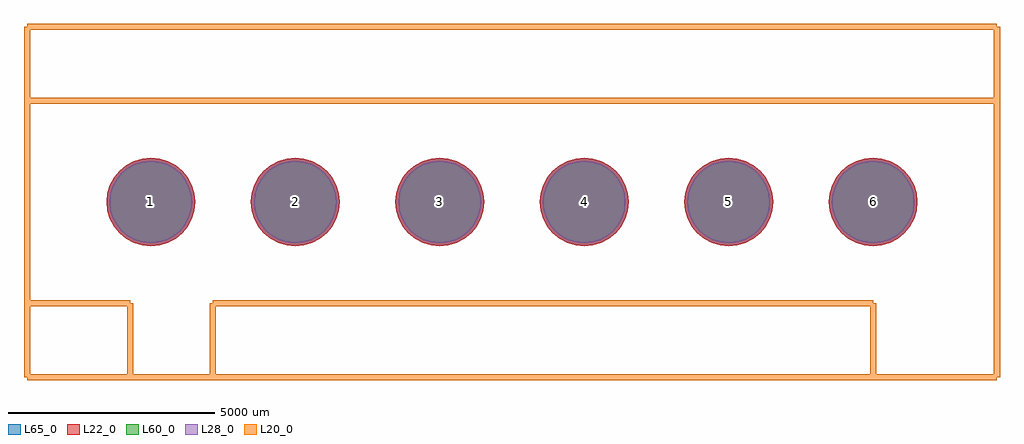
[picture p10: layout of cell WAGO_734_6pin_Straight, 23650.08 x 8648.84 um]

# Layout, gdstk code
import gdstk
lib = gdstk.Library(unit=1e-6, precision=1e-09)
def P(c, l, *ps):  # polygons
    for p in ps: c.add(gdstk.Polygon(p, *l))
L20_0 = (20, 0)
L22_0 = (22, 0)
L28_0 = (28, 0)
L60_0 = (60, 0)
L65_0 = (65, 0)

wago_734_6pin_straight = lib.new_cell('WAGO_734_6pin_Straight')
P(wago_734_6pin_straight, L22_0, [(9824.79,0),(9804.144,209.623),(9742.999,411.19),(9643.706,596.955),(9510.079,759.779),(9347.255,893.406),(9161.49,992.699),(8959.923,1053.844),(8750.3,1074.49),(8540.677,1053.844),(8339.11,992.699),(8153.345,893.406),(7990.521,759.779),(7856.894,596.955),(7757.601,411.19),(7696.456,209.623),(7675.81,0),(7696.456,-209.623),(7757.601,-411.19),(7856.894,-596.955),(7990.521,-759.779),(8153.345,-893.406),(8339.11,-992.699),(8540.677,-1053.844),(8750.3,-1074.49),(8959.923,-1053.844),(9161.49,-992.699),(9347.255,-893.406),(9510.079,-759.779),(9643.706,-596.955),(9742.999,-411.19),(9804.144,-209.623)],
  [(-7675.81,0),(-7696.456,209.623),(-7757.601,411.19),(-7856.894,596.955),(-7990.521,759.779),(-8153.345,893.406),(-8339.11,992.699),(-8540.677,1053.844),(-8750.3,1074.49),(-8959.923,1053.844),(-9161.49,992.699),(-9347.255,893.406),(-9510.079,759.779),(-9643.706,596.955),(-9742.999,411.19),(-9804.144,209.623),(-9824.79,0),(-9804.144,-209.623),(-9742.999,-411.19),(-9643.706,-596.955),(-9510.079,-759.779),(-9347.255,-893.406),(-9161.49,-992.699),(-8959.923,-1053.844),(-8750.3,-1074.49),(-8540.677,-1053.844),(-8339.11,-992.699),(-8153.345,-893.406),(-7990.521,-759.779),(-7856.894,-596.955),(-7757.601,-411.19),(-7696.456,-209.623)],
  [(6324.67,0),(6304.024,209.623),(6242.879,411.19),(6143.586,596.955),(6009.959,759.779),(5847.135,893.406),(5661.37,992.699),(5459.803,1053.844),(5250.18,1074.49),(5040.557,1053.844),(4838.99,992.699),(4653.225,893.406),(4490.401,759.779),(4356.774,596.955),(4257.481,411.19),(4196.336,209.623),(4175.69,0),(4196.336,-209.623),(4257.481,-411.19),(4356.774,-596.955),(4490.401,-759.779),(4653.225,-893.406),(4838.99,-992.699),(5040.557,-1053.844),(5250.18,-1074.49),(5459.803,-1053.844),(5661.37,-992.699),(5847.135,-893.406),(6009.959,-759.779),(6143.586,-596.955),(6242.879,-411.19),(6304.024,-209.623)],
  [(2824.55,0),(2803.904,209.623),(2742.759,411.19),(2643.466,596.955),(2509.839,759.779),(2347.015,893.406),(2161.25,992.699),(1959.683,1053.844),(1750.06,1074.49),(1540.437,1053.844),(1338.87,992.699),(1153.105,893.406),(990.281,759.779),(856.654,596.955),(757.361,411.19),(696.216,209.623),(675.57,0),(696.216,-209.623),(757.361,-411.19),(856.654,-596.955),(990.281,-759.779),(1153.105,-893.406),(1338.87,-992.699),(1540.437,-1053.844),(1750.06,-1074.49),(1959.683,-1053.844),(2161.25,-992.699),(2347.015,-893.406),(2509.839,-759.779),(2643.466,-596.955),(2742.759,-411.19),(2803.904,-209.623)],
  [(-4175.69,0),(-4196.336,209.623),(-4257.481,411.19),(-4356.774,596.955),(-4490.401,759.779),(-4653.225,893.406),(-4838.99,992.699),(-5040.557,1053.844),(-5250.18,1074.49),(-5459.803,1053.844),(-5661.37,992.699),(-5847.135,893.406),(-6009.959,759.779),(-6143.586,596.955),(-6242.879,411.19),(-6304.024,209.623),(-6324.67,0),(-6304.024,-209.623),(-6242.879,-411.19),(-6143.586,-596.955),(-6009.959,-759.779),(-5847.135,-893.406),(-5661.37,-992.699),(-5459.803,-1053.844),(-5250.18,-1074.49),(-5040.557,-1053.844),(-4838.99,-992.699),(-4653.225,-893.406),(-4490.401,-759.779),(-4356.774,-596.955),(-4257.481,-411.19),(-4196.336,-209.623)],
  [(-675.57,0),(-696.216,209.623),(-757.361,411.19),(-856.654,596.955),(-990.281,759.779),(-1153.105,893.406),(-1338.87,992.699),(-1540.437,1053.844),(-1750.06,1074.49),(-1959.683,1053.844),(-2161.25,992.699),(-2347.015,893.406),(-2509.839,759.779),(-2643.466,596.955),(-2742.759,411.19),(-2803.904,209.623),(-2824.55,0),(-2803.904,-209.623),(-2742.759,-411.19),(-2643.466,-596.955),(-2509.839,-759.779),(-2347.015,-893.406),(-2161.25,-992.699),(-1959.683,-1053.844),(-1750.06,-1074.49),(-1540.437,-1053.844),(-1338.87,-992.699),(-1153.105,-893.406),(-990.281,-759.779),(-856.654,-596.955),(-757.361,-411.19),(-696.216,-209.623)])
P(wago_734_6pin_straight, L28_0, [(9749.79,0),(9730.585,194.991),(9673.708,382.488),(9581.346,555.287),(9457.046,706.746),(9305.587,831.046),(9132.788,923.408),(8945.291,980.285),(8750.3,999.49),(8555.309,980.285),(8367.812,923.408),(8195.013,831.046),(8043.554,706.746),(7919.254,555.287),(7826.892,382.488),(7770.015,194.991),(7750.81,0),(7770.015,-194.991),(7826.892,-382.488),(7919.254,-555.287),(8043.554,-706.746),(8195.013,-831.046),(8367.812,-923.408),(8555.309,-980.285),(8750.3,-999.49),(8945.291,-980.285),(9132.788,-923.408),(9305.587,-831.046),(9457.046,-706.746),(9581.346,-555.287),(9673.708,-382.488),(9730.585,-194.991)],
  [(-7750.81,0),(-7770.015,194.991),(-7826.892,382.488),(-7919.254,555.287),(-8043.554,706.746),(-8195.013,831.046),(-8367.812,923.408),(-8555.309,980.285),(-8750.3,999.49),(-8945.291,980.285),(-9132.788,923.408),(-9305.587,831.046),(-9457.046,706.746),(-9581.346,555.287),(-9673.708,382.488),(-9730.585,194.991),(-9749.79,0),(-9730.585,-194.991),(-9673.708,-382.488),(-9581.346,-555.287),(-9457.046,-706.746),(-9305.587,-831.046),(-9132.788,-923.408),(-8945.291,-980.285),(-8750.3,-999.49),(-8555.309,-980.285),(-8367.812,-923.408),(-8195.013,-831.046),(-8043.554,-706.746),(-7919.254,-555.287),(-7826.892,-382.488),(-7770.015,-194.991)],
  [(6249.67,0),(6230.465,194.991),(6173.588,382.488),(6081.226,555.287),(5956.926,706.746),(5805.467,831.046),(5632.668,923.408),(5445.171,980.285),(5250.18,999.49),(5055.189,980.285),(4867.692,923.408),(4694.893,831.046),(4543.434,706.746),(4419.134,555.287),(4326.772,382.488),(4269.895,194.991),(4250.69,0),(4269.895,-194.991),(4326.772,-382.488),(4419.134,-555.287),(4543.434,-706.746),(4694.893,-831.046),(4867.692,-923.408),(5055.189,-980.285),(5250.18,-999.49),(5445.171,-980.285),(5632.668,-923.408),(5805.467,-831.046),(5956.926,-706.746),(6081.226,-555.287),(6173.588,-382.488),(6230.465,-194.991)],
  [(2749.55,0),(2730.345,194.991),(2673.468,382.488),(2581.106,555.287),(2456.806,706.746),(2305.347,831.046),(2132.548,923.408),(1945.051,980.285),(1750.06,999.49),(1555.069,980.285),(1367.572,923.408),(1194.773,831.046),(1043.314,706.746),(919.014,555.287),(826.652,382.488),(769.775,194.991),(750.57,0),(769.775,-194.991),(826.652,-382.488),(919.014,-555.287),(1043.314,-706.746),(1194.773,-831.046),(1367.572,-923.408),(1555.069,-980.285),(1750.06,-999.49),(1945.051,-980.285),(2132.548,-923.408),(2305.347,-831.046),(2456.806,-706.746),(2581.106,-555.287),(2673.468,-382.488),(2730.345,-194.991)],
  [(-4250.69,0),(-4269.895,194.991),(-4326.772,382.488),(-4419.134,555.287),(-4543.434,706.746),(-4694.893,831.046),(-4867.692,923.408),(-5055.189,980.285),(-5250.18,999.49),(-5445.171,980.285),(-5632.668,923.408),(-5805.467,831.046),(-5956.926,706.746),(-6081.226,555.287),(-6173.588,382.488),(-6230.465,194.991),(-6249.67,0),(-6230.465,-194.991),(-6173.588,-382.488),(-6081.226,-555.287),(-5956.926,-706.746),(-5805.467,-831.046),(-5632.668,-923.408),(-5445.171,-980.285),(-5250.18,-999.49),(-5055.189,-980.285),(-4867.692,-923.408),(-4694.893,-831.046),(-4543.434,-706.746),(-4419.134,-555.287),(-4326.772,-382.488),(-4269.895,-194.991)],
  [(-750.57,0),(-769.775,194.991),(-826.652,382.488),(-919.014,555.287),(-1043.314,706.746),(-1194.773,831.046),(-1367.572,923.408),(-1555.069,980.285),(-1750.06,999.49),(-1945.051,980.285),(-2132.548,923.408),(-2305.347,831.046),(-2456.806,706.746),(-2581.106,555.287),(-2673.468,382.488),(-2730.345,194.991),(-2749.55,0),(-2730.345,-194.991),(-2673.468,-382.488),(-2581.106,-555.287),(-2456.806,-706.746),(-2305.347,-831.046),(-2132.548,-923.408),(-1945.051,-980.285),(-1750.06,-999.49),(-1555.069,-980.285),(-1367.572,-923.408),(-1194.773,-831.046),(-1043.314,-706.746),(-919.014,-555.287),(-826.652,-382.488),(-769.775,-194.991)])
P(wago_734_6pin_straight, L60_0, [(9749.79,0),(9730.585,194.991),(9673.708,382.488),(9581.346,555.287),(9457.046,706.746),(9305.587,831.046),(9132.788,923.408),(8945.291,980.285),(8750.3,999.49),(8555.309,980.285),(8367.812,923.408),(8195.013,831.046),(8043.554,706.746),(7919.254,555.287),(7826.892,382.488),(7770.015,194.991),(7750.81,0),(7770.015,-194.991),(7826.892,-382.488),(7919.254,-555.287),(8043.554,-706.746),(8195.013,-831.046),(8367.812,-923.408),(8555.309,-980.285),(8750.3,-999.49),(8945.291,-980.285),(9132.788,-923.408),(9305.587,-831.046),(9457.046,-706.746),(9581.346,-555.287),(9673.708,-382.488),(9730.585,-194.991)],
  [(-7750.81,0),(-7770.015,194.991),(-7826.892,382.488),(-7919.254,555.287),(-8043.554,706.746),(-8195.013,831.046),(-8367.812,923.408),(-8555.309,980.285),(-8750.3,999.49),(-8945.291,980.285),(-9132.788,923.408),(-9305.587,831.046),(-9457.046,706.746),(-9581.346,555.287),(-9673.708,382.488),(-9730.585,194.991),(-9749.79,0),(-9730.585,-194.991),(-9673.708,-382.488),(-9581.346,-555.287),(-9457.046,-706.746),(-9305.587,-831.046),(-9132.788,-923.408),(-8945.291,-980.285),(-8750.3,-999.49),(-8555.309,-980.285),(-8367.812,-923.408),(-8195.013,-831.046),(-8043.554,-706.746),(-7919.254,-555.287),(-7826.892,-382.488),(-7770.015,-194.991)],
  [(6249.67,0),(6230.465,194.991),(6173.588,382.488),(6081.226,555.287),(5956.926,706.746),(5805.467,831.046),(5632.668,923.408),(5445.171,980.285),(5250.18,999.49),(5055.189,980.285),(4867.692,923.408),(4694.893,831.046),(4543.434,706.746),(4419.134,555.287),(4326.772,382.488),(4269.895,194.991),(4250.69,0),(4269.895,-194.991),(4326.772,-382.488),(4419.134,-555.287),(4543.434,-706.746),(4694.893,-831.046),(4867.692,-923.408),(5055.189,-980.285),(5250.18,-999.49),(5445.171,-980.285),(5632.668,-923.408),(5805.467,-831.046),(5956.926,-706.746),(6081.226,-555.287),(6173.588,-382.488),(6230.465,-194.991)],
  [(2749.55,0),(2730.345,194.991),(2673.468,382.488),(2581.106,555.287),(2456.806,706.746),(2305.347,831.046),(2132.548,923.408),(1945.051,980.285),(1750.06,999.49),(1555.069,980.285),(1367.572,923.408),(1194.773,831.046),(1043.314,706.746),(919.014,555.287),(826.652,382.488),(769.775,194.991),(750.57,0),(769.775,-194.991),(826.652,-382.488),(919.014,-555.287),(1043.314,-706.746),(1194.773,-831.046),(1367.572,-923.408),(1555.069,-980.285),(1750.06,-999.49),(1945.051,-980.285),(2132.548,-923.408),(2305.347,-831.046),(2456.806,-706.746),(2581.106,-555.287),(2673.468,-382.488),(2730.345,-194.991)],
  [(-4250.69,0),(-4269.895,194.991),(-4326.772,382.488),(-4419.134,555.287),(-4543.434,706.746),(-4694.893,831.046),(-4867.692,923.408),(-5055.189,980.285),(-5250.18,999.49),(-5445.171,980.285),(-5632.668,923.408),(-5805.467,831.046),(-5956.926,706.746),(-6081.226,555.287),(-6173.588,382.488),(-6230.465,194.991),(-6249.67,0),(-6230.465,-194.991),(-6173.588,-382.488),(-6081.226,-555.287),(-5956.926,-706.746),(-5805.467,-831.046),(-5632.668,-923.408),(-5445.171,-980.285),(-5250.18,-999.49),(-5055.189,-980.285),(-4867.692,-923.408),(-4694.893,-831.046),(-4543.434,-706.746),(-4419.134,-555.287),(-4326.772,-382.488),(-4269.895,-194.991)],
  [(-750.57,0),(-769.775,194.991),(-826.652,382.488),(-919.014,555.287),(-1043.314,706.746),(-1194.773,831.046),(-1367.572,923.408),(-1555.069,980.285),(-1750.06,999.49),(-1945.051,980.285),(-2132.548,923.408),(-2305.347,831.046),(-2456.806,706.746),(-2581.106,555.287),(-2673.468,382.488),(-2730.345,194.991),(-2749.55,0),(-2730.345,-194.991),(-2673.468,-382.488),(-2581.106,-555.287),(-2456.806,-706.746),(-2305.347,-831.046),(-2132.548,-923.408),(-1945.051,-980.285),(-1750.06,-999.49),(-1555.069,-980.285),(-1367.572,-923.408),(-1194.773,-831.046),(-1043.314,-706.746),(-919.014,-555.287),(-826.652,-382.488),(-769.775,-194.991)])
P(wago_734_6pin_straight, L65_0, [(9824.79,0),(9804.144,209.623),(9742.999,411.19),(9643.706,596.955),(9510.079,759.779),(9347.255,893.406),(9161.49,992.699),(8959.923,1053.844),(8750.3,1074.49),(8540.677,1053.844),(8339.11,992.699),(8153.345,893.406),(7990.521,759.779),(7856.894,596.955),(7757.601,411.19),(7696.456,209.623),(7675.81,0),(7696.456,-209.623),(7757.601,-411.19),(7856.894,-596.955),(7990.521,-759.779),(8153.345,-893.406),(8339.11,-992.699),(8540.677,-1053.844),(8750.3,-1074.49),(8959.923,-1053.844),(9161.49,-992.699),(9347.255,-893.406),(9510.079,-759.779),(9643.706,-596.955),(9742.999,-411.19),(9804.144,-209.623)],
  [(-7675.81,0),(-7696.456,209.623),(-7757.601,411.19),(-7856.894,596.955),(-7990.521,759.779),(-8153.345,893.406),(-8339.11,992.699),(-8540.677,1053.844),(-8750.3,1074.49),(-8959.923,1053.844),(-9161.49,992.699),(-9347.255,893.406),(-9510.079,759.779),(-9643.706,596.955),(-9742.999,411.19),(-9804.144,209.623),(-9824.79,0),(-9804.144,-209.623),(-9742.999,-411.19),(-9643.706,-596.955),(-9510.079,-759.779),(-9347.255,-893.406),(-9161.49,-992.699),(-8959.923,-1053.844),(-8750.3,-1074.49),(-8540.677,-1053.844),(-8339.11,-992.699),(-8153.345,-893.406),(-7990.521,-759.779),(-7856.894,-596.955),(-7757.601,-411.19),(-7696.456,-209.623)],
  [(6324.67,0),(6304.024,209.623),(6242.879,411.19),(6143.586,596.955),(6009.959,759.779),(5847.135,893.406),(5661.37,992.699),(5459.803,1053.844),(5250.18,1074.49),(5040.557,1053.844),(4838.99,992.699),(4653.225,893.406),(4490.401,759.779),(4356.774,596.955),(4257.481,411.19),(4196.336,209.623),(4175.69,0),(4196.336,-209.623),(4257.481,-411.19),(4356.774,-596.955),(4490.401,-759.779),(4653.225,-893.406),(4838.99,-992.699),(5040.557,-1053.844),(5250.18,-1074.49),(5459.803,-1053.844),(5661.37,-992.699),(5847.135,-893.406),(6009.959,-759.779),(6143.586,-596.955),(6242.879,-411.19),(6304.024,-209.623)],
  [(2824.55,0),(2803.904,209.623),(2742.759,411.19),(2643.466,596.955),(2509.839,759.779),(2347.015,893.406),(2161.25,992.699),(1959.683,1053.844),(1750.06,1074.49),(1540.437,1053.844),(1338.87,992.699),(1153.105,893.406),(990.281,759.779),(856.654,596.955),(757.361,411.19),(696.216,209.623),(675.57,0),(696.216,-209.623),(757.361,-411.19),(856.654,-596.955),(990.281,-759.779),(1153.105,-893.406),(1338.87,-992.699),(1540.437,-1053.844),(1750.06,-1074.49),(1959.683,-1053.844),(2161.25,-992.699),(2347.015,-893.406),(2509.839,-759.779),(2643.466,-596.955),(2742.759,-411.19),(2803.904,-209.623)],
  [(-4175.69,0),(-4196.336,209.623),(-4257.481,411.19),(-4356.774,596.955),(-4490.401,759.779),(-4653.225,893.406),(-4838.99,992.699),(-5040.557,1053.844),(-5250.18,1074.49),(-5459.803,1053.844),(-5661.37,992.699),(-5847.135,893.406),(-6009.959,759.779),(-6143.586,596.955),(-6242.879,411.19),(-6304.024,209.623),(-6324.67,0),(-6304.024,-209.623),(-6242.879,-411.19),(-6143.586,-596.955),(-6009.959,-759.779),(-5847.135,-893.406),(-5661.37,-992.699),(-5459.803,-1053.844),(-5250.18,-1074.49),(-5040.557,-1053.844),(-4838.99,-992.699),(-4653.225,-893.406),(-4490.401,-759.779),(-4356.774,-596.955),(-4257.481,-411.19),(-4196.336,-209.623)],
  [(-675.57,0),(-696.216,209.623),(-757.361,411.19),(-856.654,596.955),(-990.281,759.779),(-1153.105,893.406),(-1338.87,992.699),(-1540.437,1053.844),(-1750.06,1074.49),(-1959.683,1053.844),(-2161.25,992.699),(-2347.015,893.406),(-2509.839,759.779),(-2643.466,596.955),(-2742.759,411.19),(-2803.904,209.623),(-2824.55,0),(-2803.904,-209.623),(-2742.759,-411.19),(-2643.466,-596.955),(-2509.839,-759.779),(-2347.015,-893.406),(-2161.25,-992.699),(-1959.683,-1053.844),(-1750.06,-1074.49),(-1540.437,-1053.844),(-1338.87,-992.699),(-1153.105,-893.406),(-990.281,-759.779),(-856.654,-596.955),(-757.361,-411.19),(-696.216,-209.623)])
wago_734_6pin_straight.add(gdstk.FlexPath([(-11750.04,-4249.42),(0,-4249.42)], 149.998, ends="flush", simple_path=True, layer=20, datatype=0))  # L20_0
wago_734_6pin_straight.add(gdstk.FlexPath([(-11750.04,4249.42),(-11750.04,-4249.42)], 149.998, ends="flush", simple_path=True, layer=20, datatype=0))  # L20_0
wago_734_6pin_straight.add(gdstk.FlexPath([(11750.04,4249.42),(-11750.04,4249.42)], 149.998, ends="flush", simple_path=True, layer=20, datatype=0))  # L20_0
wago_734_6pin_straight.add(gdstk.FlexPath([(11750.04,-4249.42),(11750.04,4249.42)], 149.998, ends="flush", simple_path=True, layer=20, datatype=0))  # L20_0
wago_734_6pin_straight.add(gdstk.FlexPath([(0,-4249.42),(11750.04,-4249.42)], 149.998, ends="flush", simple_path=True, layer=20, datatype=0))  # L20_0
wago_734_6pin_straight.add(gdstk.FlexPath([(-9250.68,-2451.1),(-9250.68,-4201.16)], 149.998, ends="flush", simple_path=True, layer=20, datatype=0))  # L20_0
wago_734_6pin_straight.add(gdstk.FlexPath([(-11750.04,-2451.1),(-9250.68,-2451.1)], 149.998, ends="flush", simple_path=True, layer=20, datatype=0))  # L20_0
wago_734_6pin_straight.add(gdstk.FlexPath([(-7249.16,-4249.42),(-7249.16,-2451.1)], 149.998, ends="flush", simple_path=True, layer=20, datatype=0))  # L20_0
wago_734_6pin_straight.add(gdstk.FlexPath([(8750.3,-2451.1),(-7249.16,-2451.1)], 149.998, ends="flush", simple_path=True, layer=20, datatype=0))  # L20_0
wago_734_6pin_straight.add(gdstk.FlexPath([(8750.3,-4249.42),(8750.3,-2451.1)], 149.998, ends="flush", simple_path=True, layer=20, datatype=0))  # L20_0
wago_734_6pin_straight.add(gdstk.FlexPath([(-11750.04,2451.1),(11750.04,2451.1)], 149.998, ends="flush", simple_path=True, layer=20, datatype=0))  # L20_0
wago_734_6pin_straight.add(gdstk.Label('6', (8750.3,0), layer=28, texttype=0))
wago_734_6pin_straight.add(gdstk.Label('1', (-8750.3,0), layer=28, texttype=0))
wago_734_6pin_straight.add(gdstk.Label('5', (5250.18,0), layer=28, texttype=0))
wago_734_6pin_straight.add(gdstk.Label('4', (1750.06,0), layer=28, texttype=0))
wago_734_6pin_straight.add(gdstk.Label('2', (-5250.18,0), layer=28, texttype=0))
wago_734_6pin_straight.add(gdstk.Label('3', (-1750.06,0), layer=28, texttype=0))
wago_734_6pin_straight.add(gdstk.Label('type', (0,-6350), layer=9, texttype=0))
wago_734_6pin_straight.add(gdstk.Label('devicename', (0,6350), layer=9, texttype=0))

lib.write_gds('WAGO_734_6pin_Straight.gds')
